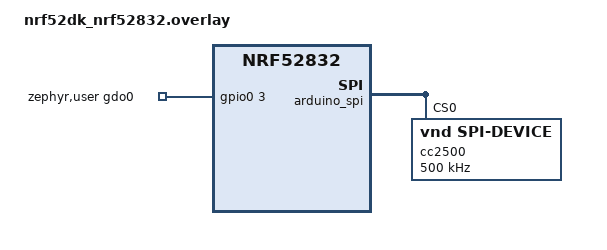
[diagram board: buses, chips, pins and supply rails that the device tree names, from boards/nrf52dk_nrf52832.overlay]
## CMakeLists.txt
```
# SPDX-License-Identifier: Apache-2.0
cmake_minimum_required(VERSION 3.20.0)
find_package(Zephyr REQUIRED HINTS $ENV{ZEPHYR_BASE})
project(cc2500_sniffer)
target_sources(app PRIVATE src/main.c)
```

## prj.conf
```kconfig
CONFIG_SPI=y
CONFIG_GPIO=y
CONFIG_LOG=y
CONFIG_LOG_BUFFER_SIZE=4096
```

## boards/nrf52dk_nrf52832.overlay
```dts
/*
 * Copyright (c) 2026 Eve Redero
 * SPDX-License-Identifier: Apache-2.0
 *
 * arduino_spi defaults: SCK P0.25, MOSI P0.23, MISO P0.24, CS D10/P0.22
 */

/ {
	zephyr,user {
		gdo0-gpios = <&gpio0 3 GPIO_ACTIVE_HIGH>; /* A0 */
	};
};

&arduino_spi {
	cc2500: cc2500@0 {
		compatible = "vnd,spi-device";
		reg = <0>;
		spi-max-frequency = <500000>;
	};
};
```

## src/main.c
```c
/*
 * Copyright (c) 2026 Eve Redero
 * SPDX-License-Identifier: Apache-2.0
 *
 * CC2500 RX sniffer (raw SPI, no driver): configure the chip like the original
 * remote (see spi_cc2500_protocol.md), sweep channels until packets show up, stay on
 * that channel while they keep coming, and log every packet with
 * RSSI, LQI and CRC status, plus per-channel RSSI average/peak (carrier sense).
 */

#include <zephyr/kernel.h>
#include <zephyr/drivers/spi.h>
#include <zephyr/logging/log.h>
LOG_MODULE_REGISTER(cc2500_sniffer, LOG_LEVEL_INF);

#define READ     0x80
#define BURST    0x40
#define PKTLEN   0x06
#define PKTCTRL1 0x07
#define CHANNR   0x0A
#define MCSM1    0x17
#define RSSI     0x34
#define SRES     0x30
#define SRX      0x34
#define SIDLE    0x36
#define SFRX     0x3A
#define MARCSTATE 0x35
#define RXBYTES  0x3B
#define RXFIFO   0x3F

/* Longest packet seen on the remote's SPI bus (short ones are 7 bytes) */
#define PKT_LEN  9
/* Channels to sweep and dwell time per channel: calibration knobs */
#define CH_FIRST 0
#define CH_LAST  9
#define DWELL_MS 1000
#define RSSI_OFFSET 72

static const struct spi_dt_spec spi = SPI_DT_SPEC_GET(DT_NODELABEL(cc2500), SPI_WORD_SET(8));

/* Register init sequence copied from the original remote's SPI capture */
static const uint8_t remote_init[][2] = {
	{0x0B, 0x0A}, {0x0C, 0x00}, {0x0D, 0x5D}, {0x0E, 0x13}, {0x0F, 0xB1},
	{0x10, 0x2D}, {0x11, 0x3B}, {0x12, 0x73}, {0x13, 0x22}, {0x14, 0xF8},
	{0x0A, 0x00}, {0x15, 0x00}, {0x21, 0xB6}, {0x22, 0x10}, {0x18, 0x18},
	{0x19, 0x1D}, {0x1A, 0x1C}, {0x1B, 0xC7}, {0x1C, 0x00}, {0x1D, 0xB0},
	{0x23, 0xEA}, {0x24, 0x0A}, {0x25, 0x00}, {0x26, 0x11}, {0x29, 0x59},
	{0x2C, 0x88}, {0x2D, 0x31}, {0x2E, 0x0B}, {0x00, 0x5C}, {0x02, 0x5B},
	{0x07, 0x0A}, {0x08, 0x04}, {0x09, 0x01},
};

static int xfer(uint8_t *buf, size_t len)
{
	const struct spi_buf b = {.buf = buf, .len = len};
	const struct spi_buf_set s = {.buffers = &b, .count = 1};

	return spi_transceive_dt(&spi, &s, &s);
}

static void strobe(uint8_t cmd) { uint8_t b[1] = {cmd}; xfer(b, 1); }
static void wr(uint8_t a, uint8_t v) { uint8_t b[2] = {a, v}; xfer(b, 2); }
static uint8_t rd_status(uint8_t a) { uint8_t b[2] = {a | READ | BURST, 0}; xfer(b, 2); return b[1]; }

static void rx_restart(uint8_t ch)
{
	strobe(SIDLE);
	strobe(SFRX);
	wr(CHANNR, ch);
	strobe(SRX); /* FS_AUTOCAL calibrates on IDLE -> RX */
}

static void read_packet(uint8_t ch)
{
	/* header + payload + 2 appended status bytes (RSSI, LQI|CRC_OK) */
	uint8_t b[1 + PKT_LEN + 2] = {RXFIFO | READ | BURST};
	int8_t rssi;
	uint8_t lqi;

	xfer(b, sizeof(b));
	rssi = (int8_t)b[1 + PKT_LEN];
	lqi = b[2 + PKT_LEN];
	LOG_INF("ch=%u rssi=%d dBm lqi=%u crc=%s", ch, rssi / 2 - RSSI_OFFSET,
		lqi & 0x7F, (lqi & 0x80) ? "OK" : "BAD");
	LOG_HEXDUMP_INF(&b[1], PKT_LEN, "pkt");
}

int main(void)
{
	if (!spi_is_ready_dt(&spi)) {
		LOG_ERR("SPI not ready");
		return -ENODEV;
	}

	strobe(SRES);
	k_msleep(1);
	for (size_t i = 0; i < ARRAY_SIZE(remote_init); i++) {
		wr(remote_init[i][0], remote_init[i][1]);
	}
	/* Sniffer overrides: append RSSI/LQI, keep CRC-failing packets, no address filter */
	wr(PKTCTRL1, 0x04);
	wr(PKTLEN, PKT_LEN);
	wr(MCSM1, 0x3C); /* RXOFF_MODE = stay in RX: no blind gap after a packet */

	LOG_INF("Sniffing ch %d..%d, %d ms each, %d-byte packets", CH_FIRST, CH_LAST, DWELL_MS,
		PKT_LEN);

	/* Lock on: stay on a channel while it has packets, sweep once a dwell is empty */
	for (uint8_t ch = CH_FIRST;;) {
		{
			int64_t end = k_uptime_get() + DWELL_MS;
			int pkts = 0, polls = 0, rssi_max = -128;
			long rssi_sum = 0;

			rx_restart(ch);
			while (k_uptime_get() < end) {
				uint8_t n = rd_status(RXBYTES);
				uint8_t st = rd_status(MARCSTATE) & 0x1F;
				int8_t rssi = (int8_t)rd_status(RSSI);

				rssi_sum += rssi;
				rssi_max = MAX(rssi_max, rssi);
				polls++;

				if (n & 0x80 || st == 0x11) { /* RX FIFO overflow */
					rx_restart(ch);
				} else if ((n & 0x7F) >= PKT_LEN + 2) {
					read_packet(ch);
					pkts++;
				} else if (st == 0x01) { /* IDLE without a full packet */
					rx_restart(ch);
				}
				k_msleep(1);
			}
			LOG_INF("ch=%u: %d packets, rssi avg %ld max %d dBm", ch, pkts,
				rssi_sum / (2 * polls) - RSSI_OFFSET, rssi_max / 2 - RSSI_OFFSET);
			if (pkts == 0) {
				ch = ch >= CH_LAST ? CH_FIRST : ch + 1;
			}
		}
	}
	return 0;
}
```
